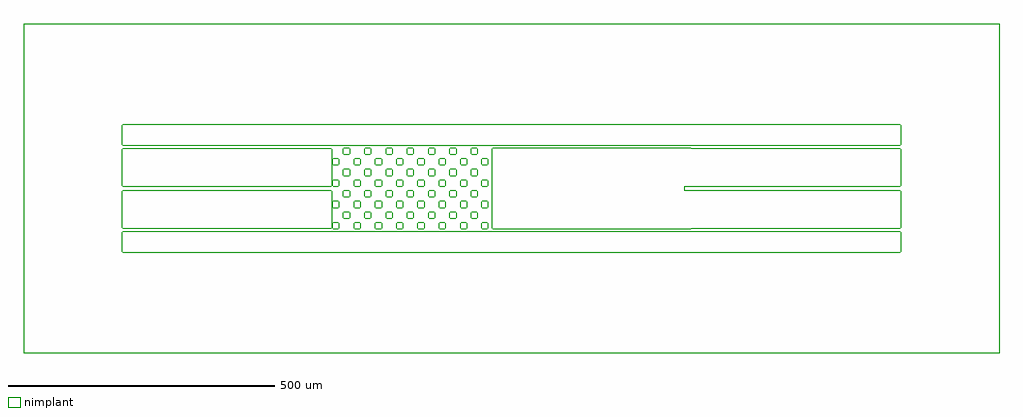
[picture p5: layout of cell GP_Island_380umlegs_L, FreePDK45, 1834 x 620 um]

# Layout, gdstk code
import gdstk
lib = gdstk.Library(unit=1e-6, precision=1e-09)
def R(c, l, rs):  # rectangles x0, y0, x1, y1
    for r in rs: c.add(gdstk.rectangle(r[:2], r[2:], *l))
def P(c, l, *ps):  # polygons
    for p in ps: c.add(gdstk.Polygon(p, *l))
nimplant = (4, 0)

gp_island_380umlegs_l = lib.new_cell('GP_Island_380umlegs_L')
R(gp_island_380umlegs_l, nimplant, [(-917,-310,-731,310), (-731,-310,731,-120), (731,-310,917,310), (-731.5,-81,-337.5,-75), (-43.999,-81,346.001,-76), (337.501,-81,731.501,-75), (-731.5,-4,-306.5,4), (324.5,-4,744.5,4), (-731.5,75,-337.5,81), (337.501,75,731.501,81), (-43.999,76,346.001,81), (-731,120,731,310)])
P(gp_island_380umlegs_l, nimplant, [(-338,-81),(-338,81),(-335.75,81),(-335.75,-75.75),(-324.25,-75.75),(-324.25,-64.25),(-335.75,-64.25),(-335.75,-35.75),(-324.25,-35.75),(-324.25,-24.25),(-335.75,-24.25),(-335.75,4.25),(-324.25,4.25),(-324.25,15.75),(-335.75,15.75),(-335.75,44.25),(-324.25,44.25),(-324.25,55.75),(-335.75,55.75),(-335.75,81),(-315.75,81),(-315.75,-55.75),(-304.25,-55.75),(-304.25,-44.25),(-315.75,-44.25),(-315.75,-15.75),(-304.25,-15.75),(-304.25,-4.25),(-315.75,-4.25),(-315.75,24.25),(-304.25,24.25),(-304.25,35.75),(-315.75,35.75),(-315.75,64.25),(-304.25,64.25),(-304.25,75.75),(-315.75,75.75),(-315.75,81),(-295.75,81),(-295.75,-75.75),(-284.25,-75.75),(-284.25,-64.25),(-295.75,-64.25),(-295.75,-35.75),(-284.25,-35.75),(-284.25,-24.25),(-295.75,-24.25),(-295.75,4.25),(-284.25,4.25),(-284.25,15.75),(-295.75,15.75),(-295.75,44.25),(-284.25,44.25),(-284.25,55.75),(-295.75,55.75),(-295.75,81),(-275.75,81),(-275.75,-55.75),(-264.25,-55.75),(-264.25,-44.25),(-275.75,-44.25),(-275.75,-15.75),(-264.25,-15.75),(-264.25,-4.25),(-275.75,-4.25),(-275.75,24.25),(-264.25,24.25),(-264.25,35.75),(-275.75,35.75),(-275.75,64.25),(-264.25,64.25),(-264.25,75.75),(-275.75,75.75),(-275.75,81),(-255.75,81),(-255.75,-75.75),(-244.25,-75.75),(-244.25,-64.25),(-255.75,-64.25),(-255.75,-35.75),(-244.25,-35.75),(-244.25,-24.25),(-255.75,-24.25),(-255.75,4.25),(-244.25,4.25),(-244.25,15.75),(-255.75,15.75),(-255.75,44.25),(-244.25,44.25),(-244.25,55.75),(-255.75,55.75),(-255.75,81),(-235.75,81),(-235.75,-55.75),(-224.25,-55.75),(-224.25,-44.25),(-235.75,-44.25),(-235.75,-15.75),(-224.25,-15.75),(-224.25,-4.25),(-235.75,-4.25),(-235.75,24.25),(-224.25,24.25),(-224.25,35.75),(-235.75,35.75),(-235.75,64.25),(-224.25,64.25),(-224.25,75.75),(-235.75,75.75),(-235.75,81),(-215.75,81),(-215.75,-75.75),(-204.25,-75.75),(-204.25,-64.25),(-215.75,-64.25),(-215.75,-35.75),(-204.25,-35.75),(-204.25,-24.25),(-215.75,-24.25),(-215.75,4.25),(-204.25,4.25),(-204.25,15.75),(-215.75,15.75),(-215.75,44.25),(-204.25,44.25),(-204.25,55.75),(-215.75,55.75),(-215.75,81),(-195.75,81),(-195.75,-55.75),(-184.25,-55.75),(-184.25,-44.25),(-195.75,-44.25),(-195.75,-15.75),(-184.25,-15.75),(-184.25,-4.25),(-195.75,-4.25),(-195.75,24.25),(-184.25,24.25),(-184.25,35.75),(-195.75,35.75),(-195.75,64.25),(-184.25,64.25),(-184.25,75.75),(-195.75,75.75),(-195.75,81),(-175.75,81),(-175.75,-75.75),(-164.25,-75.75),(-164.25,-64.25),(-175.75,-64.25),(-175.75,-35.75),(-164.25,-35.75),(-164.25,-24.25),(-175.75,-24.25),(-175.75,4.25),(-164.25,4.25),(-164.25,15.75),(-175.75,15.75),(-175.75,44.25),(-164.25,44.25),(-164.25,55.75),(-175.75,55.75),(-175.75,81),(-155.75,81),(-155.75,-55.75),(-144.25,-55.75),(-144.25,-44.25),(-155.75,-44.25),(-155.75,-15.75),(-144.25,-15.75),(-144.25,-4.25),(-155.75,-4.25),(-155.75,24.25),(-144.25,24.25),(-144.25,35.75),(-155.75,35.75),(-155.75,64.25),(-144.25,64.25),(-144.25,75.75),(-155.75,75.75),(-155.75,81),(-135.75,81),(-135.75,-75.75),(-124.25,-75.75),(-124.25,-64.25),(-135.75,-64.25),(-135.75,-35.75),(-124.25,-35.75),(-124.25,-24.25),(-135.75,-24.25),(-135.75,4.25),(-124.25,4.25),(-124.25,15.75),(-135.75,15.75),(-135.75,44.25),(-124.25,44.25),(-124.25,55.75),(-135.75,55.75),(-135.75,81),(-115.75,81),(-115.75,-55.75),(-104.25,-55.75),(-104.25,-44.25),(-115.75,-44.25),(-115.75,-15.75),(-104.25,-15.75),(-104.25,-4.25),(-115.75,-4.25),(-115.75,24.25),(-104.25,24.25),(-104.25,35.75),(-115.75,35.75),(-115.75,64.25),(-104.25,64.25),(-104.25,75.75),(-115.75,75.75),(-115.75,81),(-95.75,81),(-95.75,-75.75),(-84.25,-75.75),(-84.25,-64.25),(-95.75,-64.25),(-95.75,-35.75),(-84.25,-35.75),(-84.25,-24.25),(-95.75,-24.25),(-95.75,4.25),(-84.25,4.25),(-84.25,15.75),(-95.75,15.75),(-95.75,44.25),(-84.25,44.25),(-84.25,55.75),(-95.75,55.75),(-95.75,81),(-75.75,81),(-75.75,-55.75),(-64.25,-55.75),(-64.25,-44.25),(-75.75,-44.25),(-75.75,-15.75),(-64.25,-15.75),(-64.25,-4.25),(-75.75,-4.25),(-75.75,24.25),(-64.25,24.25),(-64.25,35.75),(-75.75,35.75),(-75.75,64.25),(-64.25,64.25),(-64.25,75.75),(-75.75,75.75),(-75.75,81),(-55.75,81),(-55.75,-75.75),(-44.25,-75.75),(-44.25,-64.25),(-55.75,-64.25),(-55.75,-35.75),(-44.25,-35.75),(-44.25,-24.25),(-55.75,-24.25),(-55.75,4.25),(-44.25,4.25),(-44.25,15.75),(-55.75,15.75),(-55.75,44.25),(-44.25,44.25),(-44.25,55.75),(-55.75,55.75),(-55.75,81),(-36,81),(-36,-81)])

lib.write_gds('GP_Island_380umlegs_L.gds')
